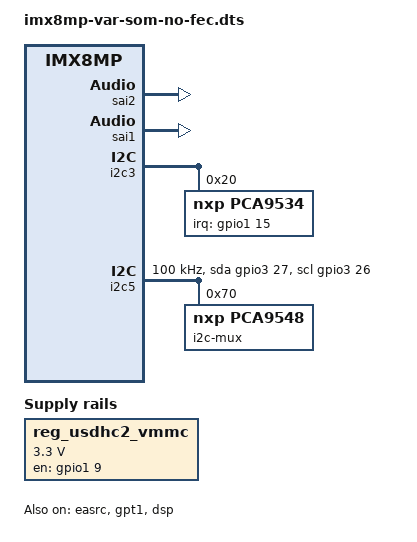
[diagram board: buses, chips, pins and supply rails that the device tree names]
/*
* Copyright AxisB Inc 2024 - 2025 All rights reserved
*
* Device tree for 16-channel TAS5825M amplifier array
* - 8 TAS5825M amplifiers on SAI2-TX_DATA0 (channels 0-15)
* - 8 TAS5825M amplifiers on SAI2-TX_DATA1 (channels 16-31)
* - Each amplifier handles 2 channels (stereo pair) from TDM16 stream
*/

#include "imx8mp-var-som-symphony.dts"

/* Enable easrc */
&easrc {
	fsl,asrc-rate  = <48000>;
	status = "okay";
};

/* AVB HW timer */
&gpt1 {
	compatible = "fsl,avb-gpt";
	timer-channel = <1>; /* Use output compare channel 1*/
	sw-recovery = <0>; /* Use SW recovery mode for STMMAC (eth port 0) */
	prescale = <1>;
	domain = <0>;

	clocks = <&clk IMX8MP_CLK_GPT1_ROOT>,
		 <&clk IMX8MP_CLK_GPT1_ROOT>,
		 <&clk IMX8MP_AUDIO_PLL1>;
	clock-names = "ipg", "per", "audio_pll";

	/* Make the GPT clk root derive from the audio PLL*/
	assigned-clocks = <&clk IMX8MP_CLK_GPT1>;
	assigned-clock-parents = <&clk IMX8MP_AUDIO_PLL1_OUT>;
	assigned-clock-rates = <0>;

	gpt1_capin1_sel = <&gpr 0x4 2>;

	status = "okay";
};

&iomuxc {
	pinctrl_i2c5: i2c5grp {
		fsl,pins = <
			MX8MP_IOMUXC_HDMI_DDC_SCL__I2C5_SCL				0x400001c2
			MX8MP_IOMUXC_HDMI_DDC_SDA__I2C5_SDA				0x400001c2
		>;
	};

	pinctrl_sai1: sai1grp {
		fsl,pins = <
			MX8MP_IOMUXC_SAI1_MCLK__AUDIOMIX_SAI1_MCLK			    0xd6
			MX8MP_IOMUXC_SAI1_TXFS__AUDIOMIX_SAI1_TX_SYNC			0xd6
			MX8MP_IOMUXC_SAI1_TXC__AUDIOMIX_SAI1_TX_BCLK			0xd6
			MX8MP_IOMUXC_SAI1_TXD0__AUDIOMIX_SAI1_TX_DATA00			0xd6
			MX8MP_IOMUXC_SAI1_TXD1__AUDIOMIX_SAI1_TX_DATA01			0xd6
			MX8MP_IOMUXC_SAI1_TXD2__AUDIOMIX_SAI1_TX_DATA02			0xd6
			MX8MP_IOMUXC_SAI1_TXD3__AUDIOMIX_SAI1_TX_DATA03			0xd6
			MX8MP_IOMUXC_SAI1_RXC__AUDIOMIX_SAI1_RX_BCLK			0xd6
			MX8MP_IOMUXC_SAI1_RXFS__AUDIOMIX_SAI1_RX_SYNC			0xd6
		>;
	};
	
	pinctrl_sai2: sai2grp {
		fsl,pins = <
			MX8MP_IOMUXC_SAI2_MCLK__AUDIOMIX_SAI2_MCLK			    0xd6
			MX8MP_IOMUXC_SAI2_TXFS__AUDIOMIX_SAI2_TX_SYNC			0xd6
			MX8MP_IOMUXC_SAI2_TXC__AUDIOMIX_SAI2_TX_BCLK			0xd6
			MX8MP_IOMUXC_SAI2_TXD0__AUDIOMIX_SAI2_TX_DATA00			0xd6
			MX8MP_IOMUXC_SAI2_RXD0__AUDIOMIX_SAI2_RX_DATA00 		0xd6
			MX8MP_IOMUXC_SAI2_RXC__AUDIOMIX_SAI2_RX_BCLK			0xd6
			MX8MP_IOMUXC_SAI2_RXFS__AUDIOMIX_SAI2_RX_SYNC			0xd6
		>;
	};

	pinctrl_usdhc2_gpio: usdhc2grp-gpio {
		fsl,pins = <
			MX8MP_IOMUXC_GPIO1_IO14__GPIO1_IO14				0x1c4
			MX8MP_IOMUXC_GPIO1_IO09__GPIO1_IO09				0x10  /* SD card power control */
			/* GPIO4_IO22 (SAI2_RXC) now used for audio, not SD card regulator */
			/* MX8MP_IOMUXC_SAI2_RXC__GPIO4_IO22				0x10 */
			MX8MP_IOMUXC_SD2_CD_B__GPIO2_IO12				0xc0
		>;
	};
};

/*   Enable SAI2 with TDM16 on both TX_DATA0 and TX_DATA1                  */
&sai2 {
	status = "okay";
	#sound-dai-cells = <0>;
	pinctrl-names = "default";
	pinctrl-0 = <&pinctrl_sai2>;

	/* Audio clock for BCLK/FS generation - standard rate for TDM16 */
	assigned-clocks = <&clk IMX8MP_CLK_SAI2>;
	assigned-clock-parents = <&clk IMX8MP_AUDIO_PLL1_OUT>;
	assigned-clock-rates = <24576000>; /* Standard 24.576 MHz */
	clocks = <&audio_blk_ctrl IMX8MP_CLK_AUDIO_BLK_CTRL_SAI2_IPG>, <&clk IMX8MP_CLK_DUMMY>,
		<&audio_blk_ctrl IMX8MP_CLK_AUDIO_BLK_CTRL_SAI2_MCLK1>, <&clk IMX8MP_CLK_DUMMY>,
		<&clk IMX8MP_CLK_DUMMY>;
	clock-names = "bus", "mclk0", "mclk1", "mclk2", "mclk3";
	fsl,sai-mclk-direction-output;

	/* Dataline configuration for 32 channels via 2x TDM16:
	* - Type 0 = Default/TDM mode
	* - RX mask 0x1 = RX_DATA0
	* - TX mask 0x3 = TX_DATA0 and TX_DATA1 (both enabled for 2x TDM16)
	*/
	fsl,dataline = <0 0x1 0x3>;

	/* Use MULTI-FIFO DMA for 32-channel operation (2x TDM16) */
	dmas = <&sdma2 2 25 0>, <&sdma2 3 25 0>; /* 25 = IMX_DMATYPE_MULTI_SAI */
	dma-names = "rx", "tx";

	/* Synchronous mode: TX is master, RX uses TX clocks (shared BCLK/FSYNC)
	* i.MX8MP is GLOBAL MASTER - generates clocks for both directions
	*/
};

&sai1 {
	status = "okay";
	#sound-dai-cells = <0>;
	pinctrl-names = "default";
	pinctrl-0 = <&pinctrl_sai1>;

	/* Audio clock for BCLK/FS generation - standard rate for TDM16 */
	assigned-clocks = <&clk IMX8MP_CLK_SAI1>;
	assigned-clock-parents = <&clk IMX8MP_AUDIO_PLL1_OUT>;
	assigned-clock-rates = <24576000>; /* Standard 24.576 MHz */
	clocks = <&audio_blk_ctrl IMX8MP_CLK_AUDIO_BLK_CTRL_SAI1_IPG>, <&clk IMX8MP_CLK_DUMMY>,
		<&audio_blk_ctrl IMX8MP_CLK_AUDIO_BLK_CTRL_SAI1_MCLK1>, <&clk IMX8MP_CLK_DUMMY>,
		<&clk IMX8MP_CLK_DUMMY>;
	clock-names = "bus", "mclk0", "mclk1", "mclk2", "mclk3";
	fsl,sai-mclk-direction-output;

	/* Dataline configuration for 32 channels via 2x TDM16:
	* - Type 0 = Default/TDM mode
	* - RX mask 0x1 = RX_DATA0
	* - TX mask 0x3 = TX_DATA0 and TX_DATA1 (both enabled for 2x TDM16)
	*/
	fsl,dataline = <0 0x1 0x3>;

	/* Use MULTI-FIFO DMA for 32-channel operation (2x TDM16) */
	dmas = <&sdma2 0 25 0>, <&sdma2 1 25 0>; /* 25 = IMX_DMATYPE_MULTI_SAI */
	dma-names = "rx", "tx";

	/* Synchronous mode: TX is master, RX uses TX clocks (shared BCLK/FSYNC)
	* i.MX8MP is GLOBAL MASTER - generates clocks for both directions
	*/
};
/* ------------------------------------------------------------------------ */
// Dummy sound codec for TAS5825M amplifiers
/ {

	dummy_codec_0: dummy-codec-0 {
		compatible = "linux,dummy-codec";
		#sound-dai-cells = <0>;
	};

	dummy_codec_1: dummy-codec-1 {
		compatible = "linux,dummy-codec";
		#sound-dai-cells = <0>;
	};

	/* Override SD card regulator to use GPIO1_IO09 instead of GPIO4_IO22
	 * (GPIO4_IO22/SAI2_RXC is now used for audio)
	 */
	reg_usdhc2_vmmc: regulator-usdhc2-vmmc {
		compatible = "regulator-fixed";
		regulator-name = "VSD_3V3";
		regulator-min-microvolt = <3300000>;
		regulator-max-microvolt = <3300000>;
		gpio = <&gpio1 9 GPIO_ACTIVE_HIGH>;  /* Changed from GPIO4_IO22 */
		enable-active-high;
		startup-delay-us = <100>;
		off-on-delay-us = <12000>;
	};

	/* TAS5825M #0: Channels 0-1 (TDM slots 0-1 on TX_DATA0) - BIDIRECTIONAL */
	sound-amp-0 {
		compatible = "simple-audio-card";
		simple-audio-card,name = "tas5825m-ch0-1";
		simple-audio-card,format = "dsp_a";
		simple-audio-card,bitclock-master = <&cpu_amp_0>;
		simple-audio-card,frame-master = <&cpu_amp_0>;
		status = "okay";

		cpu_amp_0: simple-audio-card,cpu {
			sound-dai = <&sai2>;
			dai-tdm-slot-num = <16>;         // 16 slots per TDM frame 
			dai-tdm-slot-width = <32>;       // 32 bits per slot 
			dai-tdm-slot-tx-mask = <0xffff>; // Slots 0-1: bits 0-1 set
			dai-tdm-slot-rx-mask = <0xffff>;
		};

		simple-audio-card,codec {
			sound-dai = <&dummy_codec_0>;
		};
	};

	sound-amp-1 {
		compatible = "simple-audio-card";
		simple-audio-card,name = "second-dummy-amp";
		simple-audio-card,format = "dsp_a";
		simple-audio-card,bitclock-master = <&cpu_amp_1>;
		simple-audio-card,frame-master = <&cpu_amp_1>;
		status = "okay";

		cpu_amp_1: simple-audio-card,cpu {
			sound-dai = <&sai1>;
			dai-tdm-slot-num = <16>;         // 16 slots per TDM frame 
			dai-tdm-slot-width = <32>;       // 32 bits per slot 
			dai-tdm-slot-tx-mask = <0xffff>; // Slots 0-1: bits 0-1 set
			dai-tdm-slot-rx-mask = <0xffff>;
		};

		simple-audio-card,codec {
			sound-dai = <&dummy_codec_1>;
		};
	};
};

&i2c3{
	/* GPIO expander */
	pca9534: gpio@20 {
		compatible = "nxp,pca9534";
		reg = <0x20>;
		gpio-controller;
		pinctrl-names = "default";
		pinctrl-0 = <&pinctrl_pca9534>;
		interrupt-parent = <&gpio1>;
		interrupts = <15 IRQ_TYPE_EDGE_FALLING>;
		#gpio-cells = <2>;
		wakeup-source;
		status = "okay";

		usb3_sel_hog {
			gpio-hog;
			gpios = <4 0>;
			output-low;
			line-name = "usb3_sel";
		};

		enet1_reset_hog {
			gpio-hog;
			gpios = <5 0>;
			output-low;   // keep in reset
			line-name = "enet1_reset_b";
		};
	};
};

/* ------------------------------------------------------------------------ */
/*   Enable I2C5 for TAS5825M amplifiers via PCA9548 I2C Multiplexer      */
&i2c5 {
	status = "okay";
	pinctrl-names = "default";
	pinctrl-0 = <&pinctrl_i2c5>;
	clock-frequency = <100000>;  /* 100kHz for reliability */
	scl-gpios = <&gpio3 26 GPIO_ACTIVE_HIGH>;
	sda-gpios = <&gpio3 27 GPIO_ACTIVE_HIGH>;

	/* -------------------------------------------------------------------- */
	/* PCA9548 I2C Multiplexer - 8 channels, 2 TAS5825M per channel        */
	/* -------------------------------------------------------------------- */
	i2c-mux@70 {
		compatible = "nxp,pca9548";
		#address-cells = <1>;
		#size-cells = <0>;
		reg = <0x70>;
	};
};

&dsp {
	compatible = "fsl,imx8mp-hifi4";
	reg = <0x0 0x3B6E8000 0x0 0x88000>;
	pinctrl-names = "default";
	pinctrl-0 = <&pinctrl_uart4>;
	clocks = <&audio_blk_ctrl IMX8MP_CLK_AUDIO_BLK_CTRL_OCRAMA_IPG>,
			<&audio_blk_ctrl IMX8MP_CLK_AUDIO_BLK_CTRL_DSP_ROOT>,
			<&audio_blk_ctrl IMX8MP_CLK_AUDIO_BLK_CTRL_DSPDBG_ROOT>,
			<&audio_blk_ctrl IMX8MP_CLK_AUDIO_BLK_CTRL_SDMA3_ROOT>,
			<&audio_blk_ctrl IMX8MP_CLK_AUDIO_BLK_CTRL_ASRC_IPG>,
			<&clk IMX8MP_CLK_UART4_ROOT>;
	clock-names = "ocram", "core", "debug",
			"per_clk1", "per_clk2", "per_clk3",
			"per_clk5", "per_clk7";
	firmware-name = "imx/dsp/hifi4.bin";
	power-domains = <&audiomix_pd>;
	mbox-names = "tx0", "rx0", "rxdb0";
	mboxes = <&mu2 0 0>,
			<&mu2 1 0>,
			<&mu2 3 0>;
	memory-region = <&dsp_vdev0buffer>, <&dsp_vdev0vring0>,
				<&dsp_vdev0vring1>, <&dsp_reserved>;
	syscon = <&audio_blk_ctrl>;
	status = "okay";
};

&uart4 {
	status = "disabled";
};

&wm8904 {
	status = "disabled";
};

&pcie {
	status = "disabled";
};

&pcie_ep {
	status = "disabled";
};

&sound_hdmi {
	status = "disabled";
};

&aud2htx {
	status = "disabled";
};

&flexcan2 {
	status = "disabled";
};

&irqsteer_hdmi {
	status = "disabled";
};

&hdmi_blk_ctrl {
	status = "disabled";
};

&hdmi_pavi {
	status = "disabled";
};

&hdmi {
	status = "disabled";
};

&hdmiphy {
	status = "disabled";
};

/* MIPI-DSI */
&lcdif1 {
	status = "disabled";
};

/* LVDS */
&lcdif2 {
	status = "disabled";
};

/* HDMI */
&lcdif3 {
	status = "disabled";
};

&ldb {
	status = "disabled";
};

&ldb_phy {
	status = "disabled";
};

&mipi_dsi {
	status = "disabled";
};

/* configure eqos for priority queueing and DMA channel mapping */
&eqos {
	snps,force_thresh_dma_mode;
	snps,mtl-tx-config = <&mtl_tx_setup>;
	snps,mtl-rx-config = <&mtl_rx_setup>;

	mtl_tx_setup: tx-queues-config {
		snps,tx-queues-to-use = <3>;
		snps,tx-sched-sp;

		queue0 {
			snps,dcb-algorithm;
			snps,priority = <0x1>;
		};

		queue1 {
			snps,dcb-algorithm;
			snps,priority = <0x2>;
		};

		queue2 {
			snps,dcb-algorithm;
			snps,priority = <0xFC>;
		};
	};

	mtl_rx_setup: rx-queues-config {
		snps,rx-queues-to-use = <3>;
		snps,rx-sched-sp;

		queue0 {
			snps,dcb-algorithm;
			snps,priority = <0x1>;
			snps,map-to-dma-channel = <0>;
		};

		queue1 {
			snps,dcb-algorithm;
			snps,priority = <0x2>;
			snps,map-to-dma-channel = <1>;
		};

		queue2 {
			snps,dcb-algorithm;
			snps,priority = <0xFC>;
			snps,map-to-dma-channel = <2>;
		};
	};
};

/* Force FEC ethernet to 100 Mbps */
&fec {
	status = "disabled";
};

/* Also limit the PHY to 100 Mbps */
&ethphy1 {
	max-speed = <100>;
};
